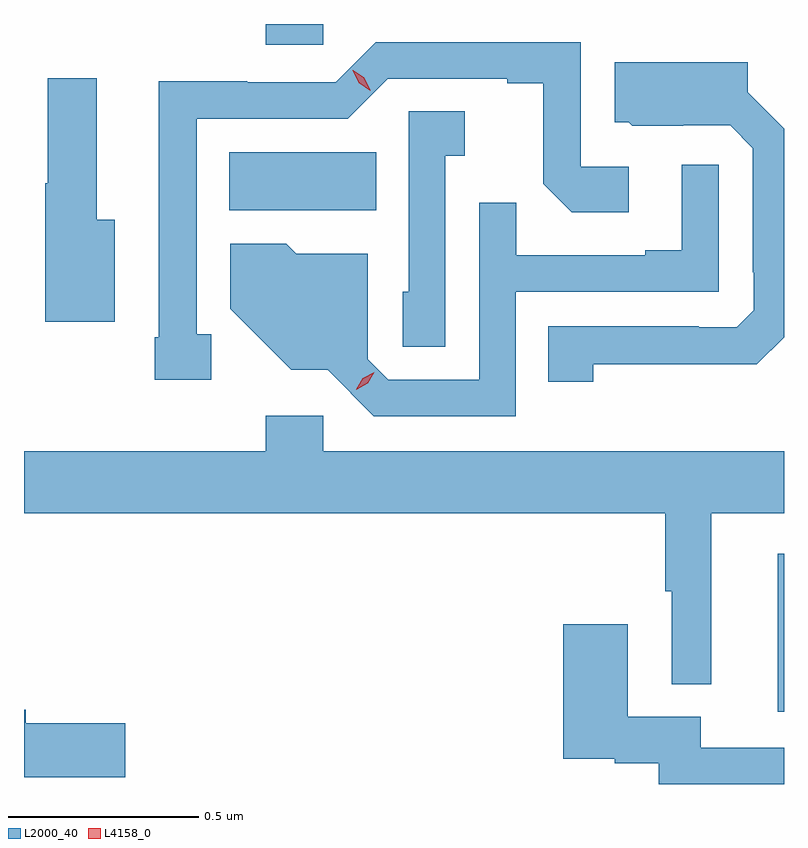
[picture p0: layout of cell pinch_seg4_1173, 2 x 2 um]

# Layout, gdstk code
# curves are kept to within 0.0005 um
import gdstk
lib = gdstk.Library(unit=1e-6, precision=1e-09)
def R(c, l, rs):  # rectangles x0, y0, x1, y1
    for r in rs: c.add(gdstk.rectangle(r[:2], r[2:], *l))
def P(c, l, *ps):  # polygons
    for p in ps: c.add(gdstk.Polygon(p, *l))
L2000_40 = (2000, 40)
L4158_0 = (4158, 0)

pinch_seg4_1173 = lib.new_cell('pinch_seg4_1173')
R(pinch_seg4_1173, L2000_40, [(484.688,788.306,484.705,788.722), (483.245,789.626,483.632,789.778), (483.341,790.062,483.492,790.116)])
P(pinch_seg4_1173, L2000_40, [(483.198,789.3),(483.16,789.3),(483.16,789.867),(483.557,789.867),(483.662,789.972),(483.977,789.972),(483.977,789.96),(484.071,789.96),(484.071,789.695),(484.146,789.62),(484.297,789.62),(484.297,789.741),(484.17,789.741),(484.17,790.068),(483.63,790.068),(483.525,789.963),(483.293,789.963),(483.293,789.965),(483.059,789.965),(483.059,789.292),(483.049,789.292),(483.049,789.18),(483.198,789.18)],
  [(484.203,789.22),(484.633,789.22),(484.705,789.292),(484.705,789.84),(484.609,789.936),(484.609,790.015),(484.259,790.015),(484.259,789.857),(484.297,789.857),(484.306,789.848),(484.44,789.848),(484.44,789.849),(484.563,789.849),(484.623,789.789),(484.623,789.463),(484.626,789.463),(484.626,789.363),(484.581,789.318),(484.481,789.318),(484.481,789.321),(484.084,789.321),(484.084,789.174),(484.203,789.174)],
  [(482.944,789.601),(482.896,789.601),(482.896,789.973),(482.768,789.973),(482.768,789.697),(482.761,789.697),(482.761,789.332),(482.944,789.332)],
  [(483.813,789.769),(483.865,789.769),(483.865,789.887),(483.717,789.887),(483.717,789.411),(483.702,789.411),(483.702,789.267),(483.813,789.267)],
  [(483.999,789.411),(484.533,789.411),(484.533,789.745),(484.436,789.745),(484.436,789.52),(484.34,789.52),(484.34,789.507),(484.001,789.507),(484.001,789.646),(483.903,789.646),(483.903,789.18),(483.663,789.18),(483.609,789.234),(483.609,789.511),(483.422,789.511),(483.395,789.538),(483.248,789.538),(483.248,789.367),(483.408,789.206),(483.504,789.206),(483.626,789.084),(483.999,789.084)],
  [(484.513,788.828),(484.705,788.828),(484.705,788.992),(483.492,788.992),(483.492,789.085),(483.341,789.085),(483.341,788.992),(482.705,788.992),(482.705,788.828),(484.392,788.828),(484.392,788.623),(484.409,788.623),(484.409,788.379),(484.513,788.379)],
  [(484.705,788.212),(484.486,788.212),(484.486,788.293),(484.294,788.293),(484.294,788.536),(484.124,788.536),(484.124,788.183),(484.26,788.183),(484.26,788.171),(484.376,788.171),(484.376,788.116),(484.705,788.116)],
  [(482.971,788.276),(482.71,788.276),(482.71,788.312),(482.705,788.312),(482.705,788.134),(482.971,788.134)])
P(pinch_seg4_1173, L4158_0, [(483.579,789.154),(483.579,789.155),(483.596,789.184),(483.627,789.2),(483.627,789.2),(483.627,789.199),(483.61,789.17),(483.579,789.154)],
  [(483.616,789.941),(483.586,789.961),(483.57,789.993),(483.57,789.994),(483.571,789.994),(483.601,789.974),(483.616,789.942),(483.616,789.941)])

lib.write_gds('pinch_seg4_1173.gds')
